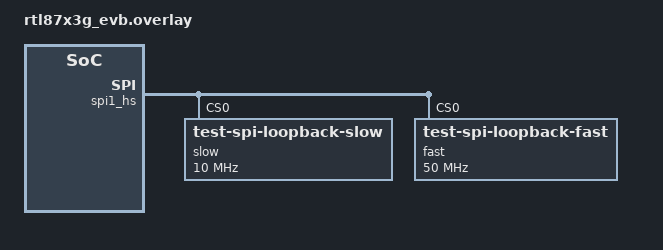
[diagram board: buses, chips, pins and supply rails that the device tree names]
/*
 * Copyright(c) 2025, Realtek Semiconductor Corporation.
 *
 * SPDX-License-Identifier: Apache-2.0
 */

#include <zephyr/dt-bindings/dma/rtl87x3g-dma.h>

&gpiob {
	status = "okay";
};

&dma0 {
    status = "okay";
};

&spi1_hs {
	status = "okay";
	pinctrl-0 = <&spi1_hs_default>;
	pinctrl-names = "default";
	dmas =  <&dma0 0 RTL87X3G_DMA_HANDSHAKE_SPI1_TX
		  (RTL87X3G_DMA_M2P
		   | RTL87X3G_DMA_SRC_INC
		   | RTL87X3G_DMA_DST_FIXED
		   | RTL87X3G_DMA_SRC_WIDTH_8BIT
		   | RTL87X3G_DMA_DST_WIDTH_8BIT
		   | RTL87X3G_DMA_SRC_MSIZE(RTL87X3G_DMA_MSIZE_16)
		   | RTL87X3G_DMA_DST_MSIZE(RTL87X3G_DMA_MSIZE_16)
		   | RTL87X3G_DMA_PRIORITY(1))>,
		<&dma0 1 RTL87X3G_DMA_HANDSHAKE_SPI1_RX
		  (RTL87X3G_DMA_P2M
		   | RTL87X3G_DMA_SRC_FIXED
		   | RTL87X3G_DMA_DST_INC
		   | RTL87X3G_DMA_SRC_WIDTH_8BIT
		   | RTL87X3G_DMA_DST_WIDTH_8BIT
		   | RTL87X3G_DMA_SRC_MSIZE(RTL87X3G_DMA_MSIZE_16)
		   | RTL87X3G_DMA_DST_MSIZE(RTL87X3G_DMA_MSIZE_16)
		   | RTL87X3G_DMA_PRIORITY(0))>;
	dma-names = "tx", "rx";
	rx-sample-delay = <1>;
	slow@0 {
		compatible = "test-spi-loopback-slow";
		reg = <0>;
		spi-max-frequency = <10000000>;
	};
	fast@0 {
		compatible = "test-spi-loopback-fast";
		reg = <0>;
		spi-max-frequency = <50000000>;
	};
};

&pinctrl {
	spi1_hs_default: spi1_hs_default {
		group1 {
			psels = <RTL87X3G_PSEL(HS_P4_2_SPI1_CLK, P4_2, DIR_IN, DRV_LOW, PULL_NONE)>,
				<RTL87X3G_PSEL(HS_P4_3_SPI1_MISO, P4_3, DIR_IN, DRV_LOW, PULL_NONE)>,
				<RTL87X3G_PSEL(HS_P4_4_SPI1_MOSI, P4_4, DIR_IN, DRV_LOW, PULL_NONE)>,
				<RTL87X3G_PSEL(HS_P4_5_SPI1_CSN, P4_5, DIR_IN, DRV_LOW, PULL_NONE)>;
		};
	};
};
